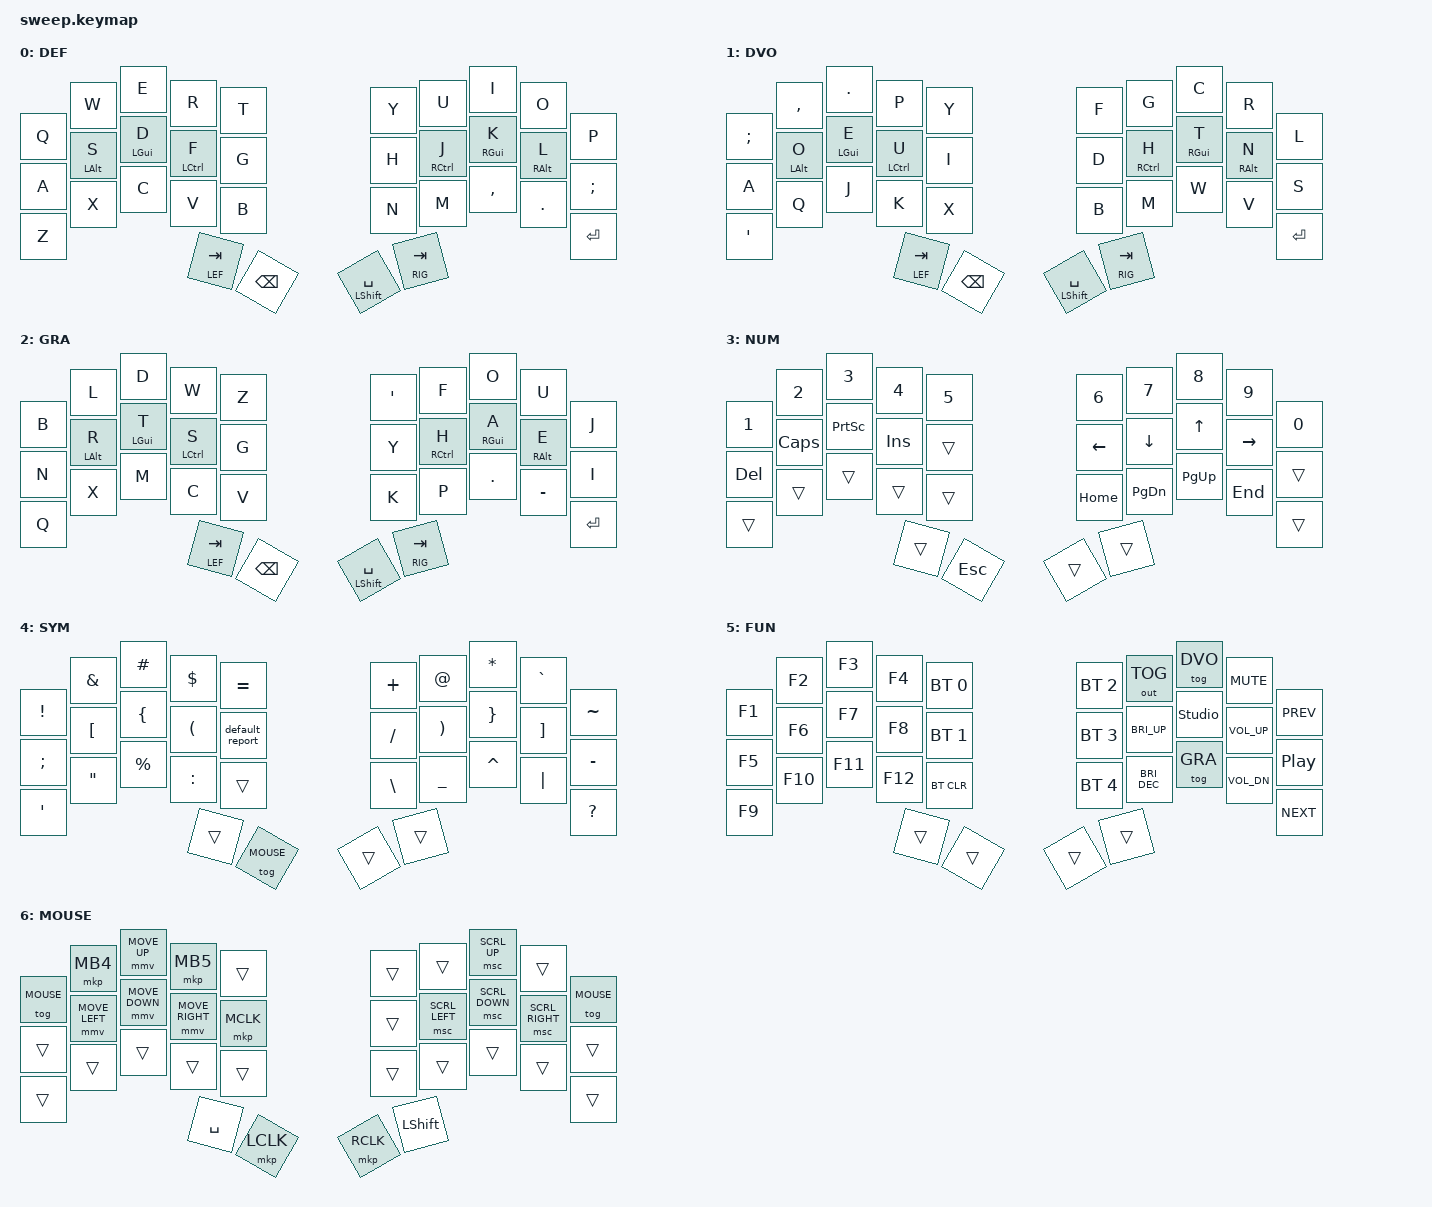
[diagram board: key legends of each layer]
// Copyright (c) 2022 The ZMK Contributors
// SPDX-License-Identifier: MIT
// #include <dt-bindings/zmk/rgb.h>

#define ZMK_POINTING_DEFAULT_MOVE_VAL 2500// 600
#define ZMK_POINTING_DEFAULT_SCRL_VAL 20// 10

#include <behaviors.dtsi>
#include <dt-bindings/zmk/bt.h>
#include <dt-bindings/zmk/keys.h>
#include <dt-bindings/zmk/outputs.h>
#include <dt-bindings/zmk/pointing.h>

#include "behaviors/character_map.dtsi"
#include "behaviors/report.dtsi"

#define MAC 0
#define DVO 1
#define GRA 2
#define RIG 3
#define LEF 4
#define TRI 5
#define MOUSE 6

/ {

	behaviors {

		ht: hold_tap {
			label = "hold_tap";
			compatible = "zmk,behavior-hold-tap";
			#binding-cells = <2>;
			flavor = "balanced";
			tapping-term-ms = <200>;
			quick-tap-ms = <150>;
			require-prior-idle-ms = <125>;
			global-quick-tap;
			bindings = <&kp>, <&kp>;
		};
		mmv {
			acceleration-exponent = <1>;// 1
			time-to-max-speed-ms = <300>;// 40
			delay-ms = <0>;// 0
		};
		msc {
			acceleration-exponent = <0>;// 0
			time-to-max-speed-ms = <40>;// 500
			delay-ms = <0>;// 10
		};
	};

	conditional_layers {
		compatible = "zmk,conditional-layers";

		tri_layer {
			if-layers = <RIG LEF>;
			then-layer = <TRI>;
		};
	};

	/* Dvorak has no spare key for Z, so Q + J together (ring + middle finger,
	   dropped down from home row) types Z. Graphite has no comma, so X + M
	   (same ring + middle drop) types a comma. */
	combos {
		compatible = "zmk,combos";

		combo_qj_z {
			timeout-ms = <40>;
			key-positions = <21 22>;
			layers = <DVO>;
			bindings = <&kp Z>;
		};

		combo_xm_comma {
			timeout-ms = <40>;
			key-positions = <21 22>;
			layers = <GRA>;
			bindings = <&kp COMMA>;
		};
	};

	keymap {
		compatible = "zmk,keymap";

		default_layer {
			display-name = "DEF";
			bindings = <
			&kp Q  &kp W       &kp E        &kp R       &kp T      &kp Y  &kp U       &kp I        &kp O       &kp P
			&kp A  &ht LALT S  &ht LGUI D  &ht LCTRL F  &kp G      &kp H  &ht RCTRL J  &ht RGUI K  &ht RALT L  &kp SEMI
			&kp Z  &kp X       &kp C        &kp V       &kp B      &kp N  &kp M       &kp COMMA    &kp DOT     &kp ENTER
			&lt LEF TAB  &kp BSPC      &mt LSHIFT SPACE  &lt RIG TAB
			>;
		};

		dvorak_layer {
			display-name = "DVO";
			bindings = <
			&kp SEMI  &kp COMMA   &kp DOT     &kp P        &kp Y      &kp F  &kp G        &kp C       &kp R       &kp L
			&kp A     &ht LALT O  &ht LGUI E  &ht LCTRL U  &kp I      &kp D  &ht RCTRL H  &ht RGUI T  &ht RALT N  &kp S
			&kp SQT   &kp Q       &kp J       &kp K        &kp X      &kp B  &kp M        &kp W       &kp V       &kp ENTER
			&lt LEF TAB  &kp BSPC      &mt LSHIFT SPACE  &lt RIG TAB
			>;
		};

		gra_layer {
			display-name = "GRA";
			bindings = <
			&kp B  &kp L       &kp D        &kp W       &kp Z      &kp SQT  &kp F       &kp O        &kp U       &kp J
			&kp N  &ht LALT R  &ht LGUI T  &ht LCTRL S  &kp G      &kp Y    &ht RCTRL H  &ht RGUI A  &ht RALT E  &kp I
			&kp Q  &kp X       &kp M        &kp C       &kp V      &kp K    &kp P       &kp DOT      &kp MINUS   &kp ENTER
			&lt LEF TAB  &kp BSPC      &mt LSHIFT SPACE  &lt RIG TAB
			>;
		};

		right_layer {
			display-name = "NUM";
			bindings = <
			&kp N1   &kp N2    &kp N3     &kp N4   &kp N5      &kp N6    &kp N7     &kp N8     &kp N9     &kp N0
			&kp DEL  &kp CAPS  &kp PSCRN  &kp INS  &trans      &kp LEFT  &kp DOWN   &kp UP     &kp RIGHT  &trans
			&trans   &trans    &trans     &trans   &trans      &kp HOME  &kp PG_DN  &kp PG_UP  &kp END    &trans
			&trans  &kp ESC      &trans  &trans
			>;
		};

		left_layer {
			display-name = "SYM";
			bindings = <
			&kp EXCL  &kp AMPS  &kp HASH   &kp DLLR   &kp EQUAL            &kp PLUS   &kp AT     &kp ASTRK  &kp GRAVE  &kp TILDE
			&kp SEMI  &kp LBKT  &kp LBRC   &kp LPAR   &default_report      &kp FSLH   &kp RPAR   &kp RBRC   &kp RBKT   &kp MINUS
			&kp SQT   &kp DQT   &kp PRCNT  &kp COLON  &trans               &kp BSLH   &kp UNDER  &kp CARET  &kp PIPE   &kp QMARK
			&trans      &tog MOUSE  &trans  &trans
			>;
		};

		tri_layer {
			display-name = "FUN";
			bindings = <
			&kp F1  &kp F2   &kp F3   &kp F4   &bt BT_SEL 0      &bt BT_SEL 2  &out OUT_TOG   &tog DVO        &kp C_MUTE    &kp C_PREV
			&kp F5  &kp F6   &kp F7   &kp F8   &bt BT_SEL 1      &bt BT_SEL 3  &kp C_BRI_UP   &studio_unlock  &kp C_VOL_UP  &kp C_PP
			&kp F9  &kp F10  &kp F11  &kp F12  &bt BT_CLR        &bt BT_SEL 4  &kp C_BRI_DEC  &tog GRA        &kp C_VOL_DN  &kp C_NEXT
			&trans  &trans      &trans  &trans
			>;
		};

		mouse {
			display-name = "MOUSE";
			bindings = <
			&tog MOUSE  &mkp MB4        &mmv MOVE_UP    &mkp MB5         &trans         &trans  &trans          &msc SCRL_UP    &trans           &tog MOUSE
			&trans      &mmv MOVE_LEFT  &mmv MOVE_DOWN  &mmv MOVE_RIGHT  &mkp MCLK      &trans  &msc SCRL_LEFT  &msc SCRL_DOWN  &msc SCRL_RIGHT  &trans
			&trans      &trans          &trans          &trans           &trans         &trans  &trans          &trans          &trans           &trans
			&kp SPACE  &mkp LCLK      &mkp RCLK  &kp LSHIFT
			>;
		};
	};
};
